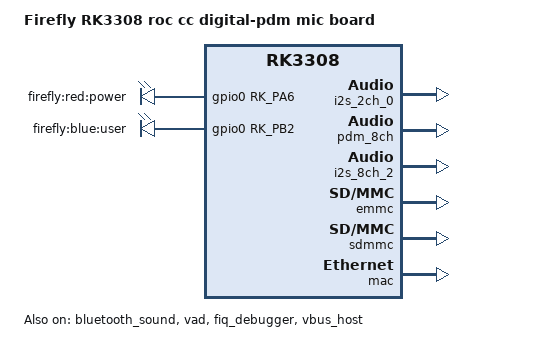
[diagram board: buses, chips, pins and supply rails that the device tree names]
// SPDX-License-Identifier: (GPL-2.0+ OR MIT)
/*
 * Copyright (c) 2018 Fuzhou Rockchip Electronics Co., Ltd
 */

/dts-v1/;

#include "rk3308-firefly.dtsi"
//#include "rk3308-mcu_3.5inch_ILI9486.dtsi"

/ {
	model = "Firefly RK3308 roc cc digital-pdm mic board";
	compatible = "firefly,rk3308-roc-cc-dmic-pdm_emmc", "firefly,rk3308";

	pdm_i2s_dais: pdm-i2s-dais {
		status = "okay";
		compatible = "rockchip,rk3308-multi-dais", "rockchip,multi-dais";
		dais = <&pdm_8ch>, <&i2s_8ch_2>;
		capture,channel-mapping = <6 2>;
		playback,channel-mapping = <0 2>;
		bitclock-inversion = <1 0>;
	};

	pdm-mic-array {
		status = "disabled";
		compatible = "simple-audio-card";
		simple-audio-card,name = "rockchip,pdm-mic-array";
		simple-audio-card,cpu {
			sound-dai = <&pdm_8ch>;
		};
		simple-audio-card,codec {
			sound-dai = <&dummy_codec>;
		};
	};

	vad-sound {
		status = "okay";
		compatible = "rockchip,multicodecs-card";
		rockchip,card-name = "rockchip,rk3308-vad";
		rockchip,cpu = <&pdm_i2s_dais>;
		rockchip,codec = <&acodec>, <&vad>;
	};

    leds {
        status = "okay";
        compatible = "gpio-leds";
        power {
            label = "firefly:red:power"; 
            linux,default-trigger = "ir-power-click";
            default-state = "on";
            gpios = <&gpio0 RK_PA6 GPIO_ACTIVE_HIGH>;
        };
        user {
            label = "firefly:blue:user";
            linux,default-trigger = "ir-user-click";
            default-state = "off";
            gpios = <&gpio0 RK_PB2 GPIO_ACTIVE_HIGH>;
        };
    };
};

&acodec_sound {
	status = "disabled";
};

&bluetooth_sound {
    status = "okay";
};

&i2s_2ch_0 {
    status = "okay";
    #sound-dai-cells = <0>;
    rockchip,clk-trcm = <1>;
};

&pdm_8ch {
	status = "okay";
	#sound-dai-cells = <0>;
	rockchip,no-dmaengine;
	pinctrl-names = "default";
	pinctrl-0 = <&pdm_m2_clk
		     &pdm_m2_clkm
		     &pdm_m2_sdi0
		     &pdm_m2_sdi1
		     &pdm_m2_sdi2
		     &pdm_m2_sdi3>;
};

&vad {
	status = "okay";
	rockchip,audio-src = <&pdm_8ch>;
	rockchip,det-channel = <0>;
	rockchip,mode = <1>;
	rockchip,buffer-time-ms = <200>;
	#sound-dai-cells = <0>;
};

&i2s_8ch_2 {
	status = "okay";
	rockchip,no-dmaengine;
	#sound-dai-cells = <0>;
};

&pdm_i2s_dais {
	status = "okay";
	#sound-dai-cells = <0>;
};

&emmc {
    status = "okay";
};

&nandc {
    status = "disabled";
};

&fiq_debugger {
    status = "okay";
    pinctrl-names = "default";
    pinctrl-0 = <&uart2m0_xfer>;
};

&sdmmc {
    status = "okay";
};

&vccio_sd {
    gpios = <&gpio0 RK_PA7 GPIO_ACTIVE_HIGH>;
};

&mac {
    status = "okay";
};

&vbus_host {
    status = "okay";
    enable-active-low;
};

&gpio_keys {
    status = "disabled";
};
